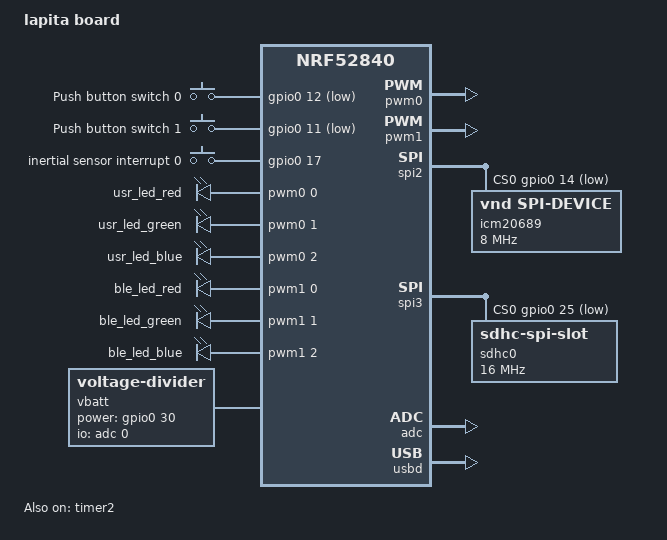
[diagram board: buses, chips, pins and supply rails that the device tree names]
// Copyright (c) 2023 Nordic Semiconductor ASA
// SPDX-License-Identifier: Apache-2.0

/dts-v1/;
#include <nordic/nrf52840_qiaa.dtsi>
#include "lapita_board-pinctrl.dtsi"

/ {
	model = "lapita board";
	compatible = "lapita,lapita-board";

	chosen {
		zephyr,sram = &sram0;
		zephyr,flash = &flash0;
		zephyr,code-partition = &slot0_partition;
	};

	buttons {
		compatible = "gpio-keys";
		button0: button_0 {
			gpios = <&gpio0 12 (GPIO_PULL_UP | GPIO_ACTIVE_LOW)>;
			label = "Push button switch 0";
		};
		button1: button_1 {
			gpios = <&gpio0 11 (GPIO_PULL_UP | GPIO_ACTIVE_LOW)>;
			label = "Push button switch 1";
		};
	};

	exti {
		compatible = "gpio-keys";
		motion_int_gpio: motion_int_gpio {
			gpios = <&gpio0 17 (GPIO_PULL_DOWN)>;
			label = "inertial sensor interrupt 0";
		};
	};

	pwmleds {
		compatible = "pwm-leds";
		usr_led_red: usr_led_red {
			pwms = <&pwm0 0 PWM_MSEC(20) PWM_POLARITY_INVERTED>;
		};
		usr_led_green: usr_led_green {
			pwms = <&pwm0 1 PWM_MSEC(20) PWM_POLARITY_INVERTED>;
		};
		usr_led_blue: usr_led_blue {
			pwms = <&pwm0 2 PWM_MSEC(20) PWM_POLARITY_INVERTED>;
		};
		ble_led_red: ble_led_red {
			pwms = <&pwm1 0 PWM_MSEC(20) PWM_POLARITY_INVERTED>;
		};
		ble_led_green: ble_led_green {
			pwms = <&pwm1 1 PWM_MSEC(20) PWM_POLARITY_INVERTED>;
		};
		ble_led_blue: ble_led_blue {
			pwms = <&pwm1 2 PWM_MSEC(20) PWM_POLARITY_INVERTED>;
		};
	};

	vbatt {
		compatible = "voltage-divider";
		io-channels = <&adc 0>;
		output-ohms = <1000000>;
		full-ohms = <(1000000 + 180000)>;
		power-gpios = <&gpio0 30 (GPIO_ACTIVE_HIGH)>;
	};
};

&flash0 {
	partitions {
		compatible = "fixed-partitions";
		#address-cells = <1>;
		#size-cells = <1>;

		boot_partition: partition@0 {
			label = "mcuboot";
			reg = <0x00000000 0x0000C000>;
		};
		slot0_partition: partition@c000 {
			label = "image-0";
			reg = <0x0000C000 0x0006E000>;
		};
		slot1_partition: partition@7A000 {
			label = "image-1";
			reg = <0x0007A000 0x0006E000>;
		};
		scratch_partition: partition@E8000 {
			label = "image-scratch";
			reg = <0x000E8000 0x00010000>;
		};

		/*
		 * The flash starting at 0x000f8000 and ending at
		 * 0x000fffff is reserved for use by the application.
		 */

		/*
		 * Storage partition will be used by FCB/LittleFS/NVS
		 * if enabled.
		 */
		storage_partition: partition@f8000 {
			label = "storage";
			reg = <0x000f8000 0x00008000>;
		};
	};
};

&gpio0 {
	status = "okay";
};

&gpio1 {
	status = "okay";
};

&pwm0 {
	status = "okay";
	pinctrl-0 = <&pwm0_default>;
	pinctrl-1 = <&pwm0_sleep>;
	pinctrl-names = "default", "sleep";
};

&pwm1 {
	status = "okay";
	pinctrl-0 = <&pwm1_default>;
	pinctrl-1 = <&pwm1_sleep>;
	pinctrl-names = "default", "sleep";
};

&spi2 {
	status = "okay";
	pinctrl-0 = <&spi2_default>;
	pinctrl-1 = <&spi2_sleep>;
	pinctrl-names = "default", "sleep";
	cs-gpios = <&gpio0 14 GPIO_ACTIVE_LOW>;
	icm20689: spi-device@0 {
		compatible = "vnd,spi-device";
		reg = <0>;
		spi-max-frequency = <DT_FREQ_M(8)>;
	};
};

&spi3 {
	status = "okay";
	pinctrl-0 = <&spi3_default>;
	pinctrl-1 = <&spi3_sleep>;
	pinctrl-names = "default", "sleep";
	cs-gpios = <&gpio0 25 GPIO_ACTIVE_LOW>;

	sdhc0: sdhc@0 {
			compatible = "zephyr,sdhc-spi-slot";
			reg = <0>;
			status = "okay";
			mmc {
				compatible = "zephyr,sdmmc-disk";
				status = "okay";
			};
			spi-max-frequency = <DT_FREQ_M(16)>;
	};
};


&timer2 {
	status = "okay";
	prescaler = < 4 >;
};

&adc {
	status = "okay";
};

zephyr_udc0: &usbd {
	compatible = "nordic,nrf-usbd";
	status = "okay";
};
